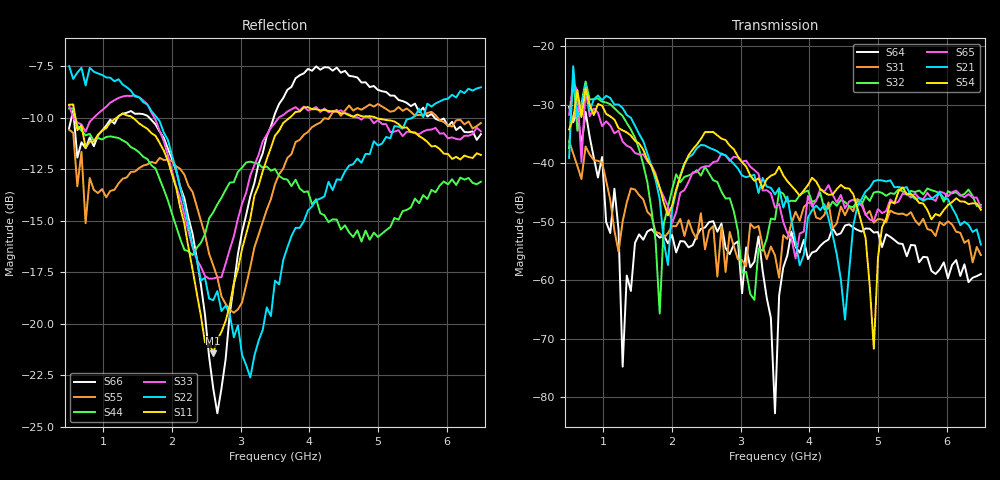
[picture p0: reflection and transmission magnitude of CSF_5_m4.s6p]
!Keysight Technologies,M9804A,MY58100912,A.14.10.03
!Date: Thursday, April 27, 2023 10:28:33
!Correction: S11(C  6-Port  )
!S12(C  6-Port  )
!S13(C  6-Port  )
!S14(C  6-Port  )
!S15(C  6-Port  )
!S16(C  6-Port  )
!S21(C  6-Port  )
!S22(C  6-Port  )
!S23(C  6-Port  )
!S24(C  6-Port  )
!S25(C  6-Port  )
!S26(C  6-Port  )
!S31(C  6-Port  )
!S32(C  6-Port  )
!S33(C  6-Port  )
!S34(C  6-Port  )
!S35(C  6-Port  )
!S36(C  6-Port  )
!S41(C  6-Port  )
!S42(C  6-Port  )
!S43(C  6-Port  )
!S44(C  6-Port  )
!S45(C  6-Port  )
!S46(C  6-Port  )
!S51(C  6-Port  )
!S52(C  6-Port  )
!S53(C  6-Port  )
!S54(C  6-Port  )
!S55(C  6-Port  )
!S56(C  6-Port  )
!S61(C  6-Port  )
!S62(C  6-Port  )
!S63(C  6-Port  )
!S64(C  6-Port  )
!S65(C  6-Port  )
!S66(C  6-Port  )
!S6P File: Measurement: :
# Hz S  RI  R 50
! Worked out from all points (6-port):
!   101 points, 500 MHz to 6.5 GHz, reference 50 ohm
!   strongest paths, dB at 500 MHz, 2 GHz, 3.5 GHz, 5 GHz, 6.5 GHz:
!     S54: -34.2, -47.2, -41.9, -56.2, -48.0
!     S21: -39.1, -47.9, -45.4, -42.9, -53.9
!     S65: -31.7, -50.2, -47.6, -47.9, -47.6
!     S32: -37.4, -44.5, -49.6, -44.9, -47.1
!     S31: -36.3, -50.8, -55.8, -49.6, -55.7
!     S64: -30.4, -52.3, -82.7, -51.8, -58.9
!   lowest |S11| = -21.4 dB at 2.6 GHz (marker M1), VSWR 1.19, Z = 42.5 + j2.16 ohm
!   |S11| at or under -10 dB: 591.2 MHz to 1.19 GHz (599.2 MHz wide, 67.3 % of centre); 1.43 GHz to 3.712 GHz (2.282 GHz wide, 88.8 % of centre); 4.973 GHz to end of sweep
